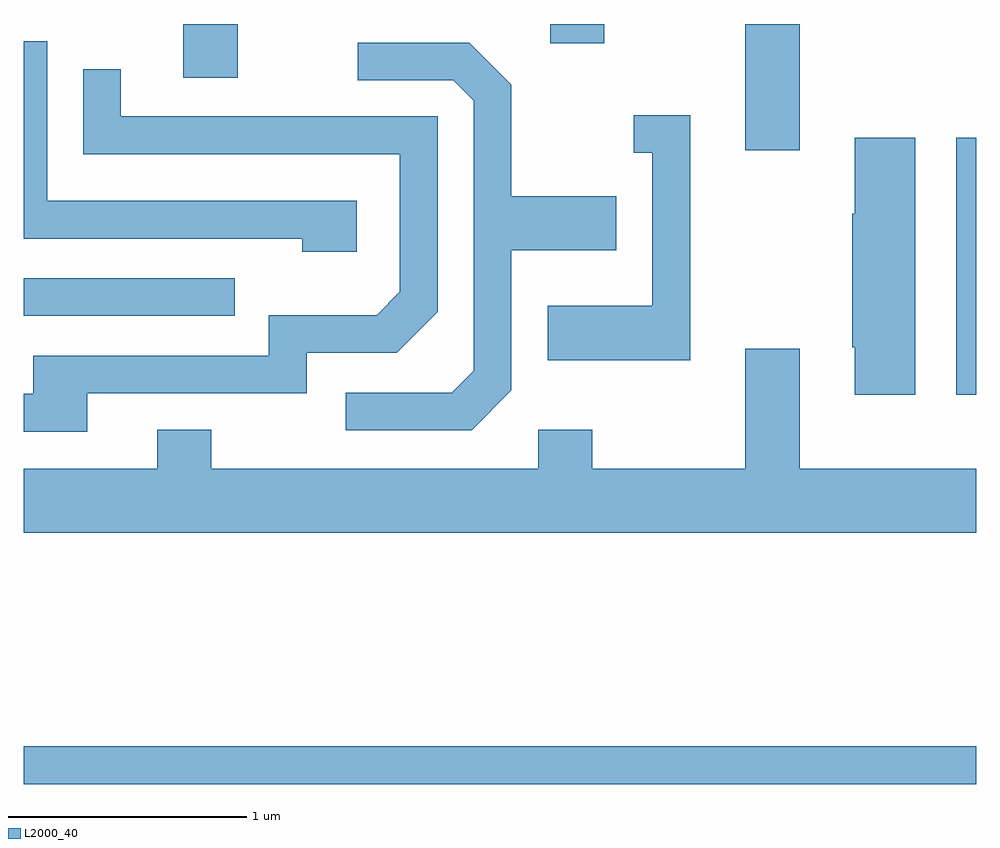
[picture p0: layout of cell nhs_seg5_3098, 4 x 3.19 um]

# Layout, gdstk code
import gdstk
lib = gdstk.Library(unit=1e-6, precision=1e-09)
def R(c, l, rs):  # rectangles x0, y0, x1, y1
    for r in rs: c.add(gdstk.rectangle(r[:2], r[2:], *l))
def P(c, l, *ps):  # polygons
    for p in ps: c.add(gdstk.Polygon(p, *l))
L2000_40 = (2000, 40)

nhs_seg5_3098 = lib.new_cell('nhs_seg5_3098')
R(nhs_seg5_3098, L2000_40, [(277.611,1426.881,281.611,1427.039), (281.526,1428.516,281.611,1429.594), (277.611,1428.846,278.498,1429.004), (280.641,1429.541,280.869,1430.072), (278.281,1429.846,278.509,1430.072), (279.821,1429.991,280.049,1430.072)])
P(nhs_seg5_3098, L2000_40, [(279.009,1429.329),(277.709,1429.329),(277.709,1429.999),(277.611,1429.999),(277.611,1429.171),(278.781,1429.171),(278.781,1429.116),(279.009,1429.116)],
  [(279.659,1428.534),(279.659,1429.121),(280.099,1429.121),(280.099,1429.349),(279.659,1429.349),(279.659,1429.817),(279.482,1429.994),(279.013,1429.994),(279.013,1429.836),(279.414,1429.836),(279.501,1429.749),(279.501,1428.617),(279.409,1428.524),(278.963,1428.524),(278.963,1428.366),(279.492,1428.366)],
  [(277.879,1428.521),(278.799,1428.521),(278.799,1428.691),(279.177,1428.691),(279.349,1428.864),(279.349,1429.684),(278.019,1429.684),(278.019,1429.883),(277.861,1429.883),(277.861,1429.526),(279.191,1429.526),(279.191,1428.947),(279.094,1428.849),(278.641,1428.849),(278.641,1428.679),(277.651,1428.679),(277.651,1428.519),(277.611,1428.519),(277.611,1428.361),(277.879,1428.361)],
  [(280.409,1429.689),(280.173,1429.689),(280.173,1429.531),(280.251,1429.531),(280.251,1428.889),(279.811,1428.889),(279.811,1428.661),(280.409,1428.661)],
  [(281.354,1429.594),(281.101,1429.594),(281.101,1429.275),(281.091,1429.275),(281.091,1428.715),(281.101,1428.715),(281.101,1428.516),(281.354,1428.516)],
  [(281.611,1428.204),(280.869,1428.204),(280.869,1428.709),(280.641,1428.709),(280.641,1428.204),(279.999,1428.204),(279.999,1428.369),(279.771,1428.369),(279.771,1428.204),(278.399,1428.204),(278.399,1428.369),(278.171,1428.369),(278.171,1428.204),(277.611,1428.204),(277.611,1427.936),(281.611,1427.936)])

lib.write_gds('nhs_seg5_3098.gds')
